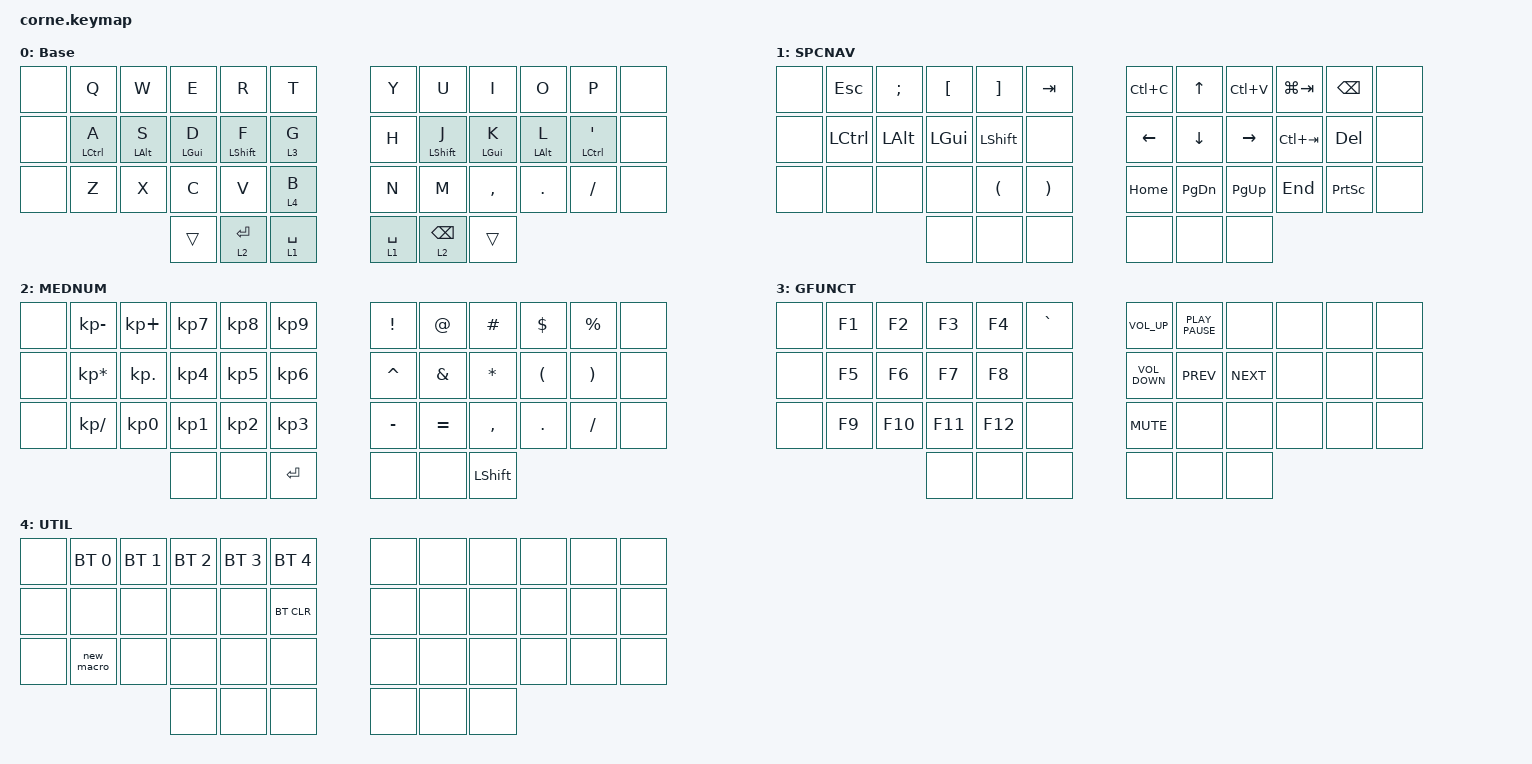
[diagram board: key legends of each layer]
/*
 * Copyright (c) 2020 The ZMK Contributors
 *
 * SPDX-License-Identifier: MIT
 */

#include <behaviors.dtsi>
#include <dt-bindings/zmk/bt.h>
#include <dt-bindings/zmk/keys.h>

/ {
    behaviors {
        hrm: hrm {
            compatible = "zmk,behavior-hold-tap";
            label = "homerowmods";
            bindings =
                <&kp>,
                <&kp>;

            #binding-cells = <2>;
            tapping-term-ms = <200>;
            quick-tap-ms = <0>;
            flavor = "balanced";
        };
    };

    macros {
        new_macro: new_macro {
            compatible = "zmk,behavior-macro";
            label = "NEW_MACRO";
            #binding-cells = <0>;
            bindings =
                <&macro_tap>,
                <&kp N &kp O &kp A &kp H &kp DOT &kp R &kp O &kp U &kp S &kp E &kp AT &kp P &kp A &kp T &kp A &kp G &kp O &kp N &kp I &kp A &kp DOT &kp C &kp O &kp M>;
        };
    };

    keymap {
        compatible = "zmk,keymap";

        QWERTY {
            // -----------------------------------------------------------------------------------------
            // |  TAB |  Q  |  W  |  E  |  R  |  T  |   |  Y  |  U   |  I  |  O  |  P  | BKSP |
            // | CTRL |  A  |  S  |  D  |  F  |  G  |   |  H  |  J   |  K  |  L  |  ;  |  '   |
            // | SHFT |  Z  |  X  |  C  |  V  |  B  |   |  N  |  M   |  ,  |  .  |  /  | ESC  |
            //                    | GUI | LWR | SPC |   | ENT | RSE  | ALT |

            label = "Base";
            bindings = <
&none         &kp Q        &kp W        &kp E          &kp R        &kp T          &kp Y         &kp U        &kp I        &kp O                  &kp P  &none
&none  &hrm LCTRL A  &hrm LALT S  &hrm LGUI D  &hrm LSHIFT F      &lt 3 G          &kp H  &hrm LSHFT J  &hrm LGUI K  &hrm LALT L  &hrm LCTRL APOSTROPHE  &none
&none         &kp Z        &kp X        &kp C          &kp V      &lt 4 B          &kp N         &kp M    &kp COMMA      &kp DOT               &kp FSLH  &none
                                       &trans      &lt 2 RET  &lt 1 SPACE    &lt 1 SPACE    &lt 2 BSPC       &trans
            >;
        };

        SPCNAV {
            // -----------------------------------------------------------------------------------------
            // |  TAB |  1  |  2  |  3  |  4  |  5  |   |  6  |  7  |  8  |  9  |  0  | BKSP |
            // | BTCLR| BT1 | BT2 | BT3 | BT4 | BT5 |   | LFT | DWN |  UP | RGT |     |      |
            // | SHFT |     |     |     |     |     |   |     |     |     |     |     |      |
            //                    | GUI |     | SPC |   | ENT |     | ALT |

            label = "SPCNAV";
            bindings = <
&none    &kp ESC  &kp SEMI  &kp LEFT_BRACKET     &kp RIGHT_BRACKET                &kp TAB    &kp LC(C)         &kp UP    &kp LC(V)  &kp LG(TAB)    &kp BACKSPACE  &none
&none  &kp LCTRL  &kp LALT          &kp LGUI            &kp LSHIFT                  &none     &kp LEFT       &kp DOWN    &kp RIGHT  &kp LC(TAB)       &kp DELETE  &none
&none      &none     &none             &none  &kp LEFT_PARENTHESIS  &kp RIGHT_PARENTHESIS     &kp HOME  &kp PAGE_DOWN  &kp PAGE_UP      &kp END  &kp PRINTSCREEN  &none
                                       &none                 &none                  &none        &none          &none        &none
            >;
        };

        MEDNUM {
            // -----------------------------------------------------------------------------------------
            // |  TAB |  !  |  @  |  #  |  $  |  %  |   |  ^  |  &  |  *  |  (  |  )  | BKSP |
            // | CTRL |     |     |     |     |     |   |  -  |  =  |  [  |  ]  |  \  |  `   |
            // | SHFT |     |     |     |     |     |   |  _  |  +  |  {  |  }  | "|" |  ~   |
            //                    | GUI |     | SPC |   | ENT |     | ALT |

            label = "MEDNUM";
            bindings = <
&none     &kp KP_MINUS      &kp KP_PLUS  &kp KP_NUMBER_7  &kp KP_NUMBER_8  &kp KP_NUMBER_9     &kp EXCL         &kp AT     &kp POUND            &kp DOLLAR            &kp PERCENT  &none
&none  &kp KP_MULTIPLY       &kp KP_DOT  &kp KP_NUMBER_4  &kp KP_NUMBER_5  &kp KP_NUMBER_6    &kp CARET  &kp AMPERSAND  &kp ASTERISK  &kp LEFT_PARENTHESIS  &kp RIGHT_PARENTHESIS  &none
&none    &kp KP_DIVIDE  &kp KP_NUMBER_0  &kp KP_NUMBER_1  &kp KP_NUMBER_2  &kp KP_NUMBER_3    &kp MINUS      &kp EQUAL     &kp COMMA               &kp DOT              &kp SLASH  &none
                                                   &none            &none       &kp RETURN        &none          &none     &kp LSHFT
            >;
        };

        GFUNCT {
            bindings = <
&none  &kp F1   &kp F2   &kp F3   &kp F4  &kp GRAVE      &kp C_VOLUME_UP  &kp K_PLAY_PAUSE       &none  &none  &none  &none
&none  &kp F5   &kp F6   &kp F7   &kp F8      &none    &kp C_VOLUME_DOWN        &kp K_PREV  &kp K_NEXT  &none  &none  &none
&none  &kp F9  &kp F10  &kp F11  &kp F12      &none           &kp K_MUTE             &none       &none  &none  &none  &none
                          &none    &none      &none                &none             &none       &none
            >;

            label = "GFUNCT";
        };

        UTIL {
            bindings = <
&none  &bt BT_SEL 0  &bt BT_SEL 1  &bt BT_SEL 2  &bt BT_SEL 3  &bt BT_SEL 4    &none  &none  &none  &none  &none  &none
&none         &none         &none         &none         &none    &bt BT_CLR    &none  &none  &none  &none  &none  &none
&none    &new_macro         &none         &none         &none         &none    &none  &none  &none  &none  &none  &none
                                          &none         &none         &none    &none  &none  &none
            >;

            label = "UTIL";
        };
    };
};
